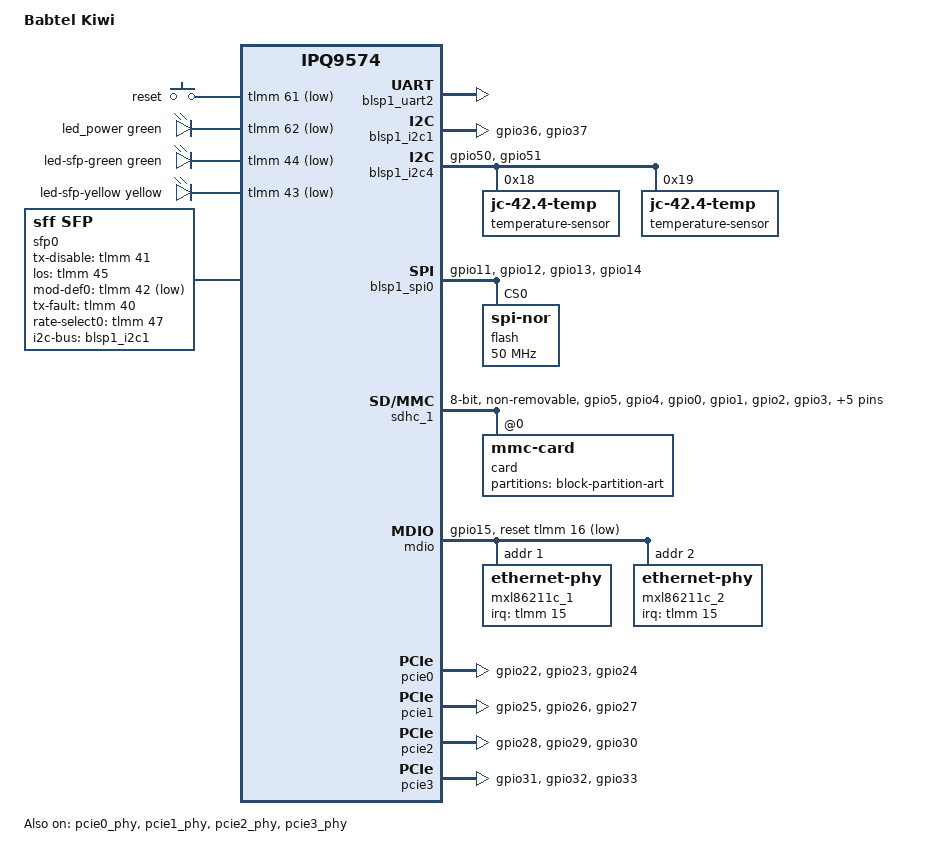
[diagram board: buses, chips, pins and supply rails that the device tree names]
// SPDX-License-Identifier: (GPL-2.0+ OR BSD-3-Clause)

/dts-v1/;

#include <dt-bindings/gpio/gpio.h>
#include <dt-bindings/input/input.h>
#include <dt-bindings/leds/common.h>
#include "ipq9574.dtsi"

/ {
	model = "Babtel Kiwi";
	compatible = "babtel,kiwi", "qcom,ipq9574";

	aliases {
		serial0 = &blsp1_uart2;
		led-boot = &led_power;
		led-failsafe = &led_power;
		led-running = &led_power;
		led-upgrade = &led_power;
	};

	chosen {
		stdout-path = "serial0:115200n8";
	};

	keys {
		compatible = "gpio-keys";
		pinctrl-0 = <&button_pins>;
		pinctrl-names = "default";

		reset-button {
			label = "reset";
			gpios = <&tlmm 61 GPIO_ACTIVE_LOW>;
			linux,code = <KEY_RESTART>;
		};
	};

	leds {
		compatible = "gpio-leds";

		led_power: led-power {
			color = <LED_COLOR_ID_GREEN>;
			function = LED_FUNCTION_POWER;
			gpios = <&tlmm 62 GPIO_ACTIVE_LOW>;
			default-state = "on";
		};

		led-sfp-green {
			color = <LED_COLOR_ID_GREEN>;
			function = LED_FUNCTION_LAN;
			function-enumerator = <0>;
			gpios = <&tlmm 44 GPIO_ACTIVE_LOW>;
			default-state = "off";
		};

		led-sfp-yellow {
			color = <LED_COLOR_ID_YELLOW>;
			function = LED_FUNCTION_LAN;
			function-enumerator = <0>;
			gpios = <&tlmm 43 GPIO_ACTIVE_LOW>;
			default-state = "off";
		};
	};

	sfp0: sfp-0 {
		compatible = "sff,sfp";
		i2c-bus = <&blsp1_i2c1>;
		tx-disable-gpios = <&tlmm 41 GPIO_ACTIVE_HIGH>;
		los-gpios = <&tlmm 45 GPIO_ACTIVE_HIGH>;
		mod-def0-gpios = <&tlmm 42 GPIO_ACTIVE_LOW>;
		tx-fault-gpios = <&tlmm 40 GPIO_ACTIVE_HIGH>;
		/* RS1 is internally tied to RS0 */
		rate-select0-gpios = <&tlmm 47 GPIO_ACTIVE_HIGH>;
	};
};

&sleep_clk {
	clock-frequency = <32000>;
};

/*
 * The bootstrap pins for the board select the XO clock frequency,
 * which automatically enables the right dividers to ensure the
 * reference clock output from WiFi is 48 MHZ.
 */
&ref_48mhz_clk {
	clock-div = <1>;
	clock-mult = <1>;
};

/*
 * The frequency of xo_board_clk is fixed to 24 MHZ, which is routed
 * from WiFi output clock 48 MHZ divided by 2.
 */
&xo_board_clk {
	clock-div = <2>;
	clock-mult = <1>;
};

&xo_clk {
	clock-frequency = <48000000>;
};

&tlmm {
	button_pins: button-default-state {
		pins = "gpio61";
		function = "gpio";
		drive-strength = <8>;
		bias-pull-up;
	};

	sdc_default_state: sdc-default-state {
		clk-pins {
			pins = "gpio5";
			function = "sdc_clk";
			drive-strength = <8>;
			bias-disable;
		};

		cmd-pins {
			pins = "gpio4";
			function = "sdc_cmd";
			drive-strength = <8>;
			bias-pull-up;
		};

		data-pins {
			pins = "gpio0", "gpio1", "gpio2",
			       "gpio3", "gpio6", "gpio7",
			       "gpio8", "gpio9";
			function = "sdc_data";
			drive-strength = <8>;
			bias-pull-up;
		};

		rclk-pins {
			pins = "gpio10";
			function = "sdc_rclk";
			drive-strength = <8>;
			bias-pull-down;
		};
	};

	spi_0_default: spi-0-default-state {
		pins = "gpio11", "gpio12", "gpio13", "gpio14";
		function = "blsp0_spi";
		drive-strength = <8>;
		bias-disable;
	};

	i2c1_default: i2c1-default-state {
		pins = "gpio36", "gpio37";
		function = "blsp1_i2c";
		drive-strength = <8>;
		bias-pull-up;
	};

	i2c4_default: i2c4-default-state {
		pins = "gpio50", "gpio51";
		function = "blsp4_i2c";
		drive-strength = <8>;
		bias-pull-up;
	};

	mdint_default: mdint-default-state {
		pins = "gpio15";
		function = "gpio";
		drive-strength = <8>;
		bias-pull-up;
	};

	pcie0_default: pcie0-default-state {
		clkreq-n-pins {
			pins = "gpio22";
			function = "pcie0_clk";
			drive-strength = <6>;
			bias-pull-up;
		};

		perst-n-pins {
			pins = "gpio23";
			function = "gpio";
			drive-strength = <8>;
			bias-pull-down;
			output-low;
		};

		wake-n-pins {
			pins = "gpio24";
			function = "pcie0_wake";
			drive-strength = <6>;
			bias-pull-up;
		};
	};

	pcie1_default: pcie1-default-state {
		clkreq-n-pins {
			pins = "gpio25";
			function = "pcie1_clk";
			drive-strength = <6>;
			bias-pull-up;
		};

		perst-n-pins {
			pins = "gpio26";
			function = "gpio";
			drive-strength = <8>;
			bias-pull-down;
			output-low;
		};

		wake-n-pins {
			pins = "gpio27";
			function = "pcie1_wake";
			drive-strength = <6>;
			bias-pull-up;
		};
	};

	pcie2_default: pcie2-default-state {
		clkreq-n-pins {
			pins = "gpio28";
			function = "pcie2_clk";
			drive-strength = <6>;
			bias-pull-up;
		};

		perst-n-pins {
			pins = "gpio29";
			function = "gpio";
			drive-strength = <8>;
			bias-pull-down;
			output-low;
		};

		wake-n-pins {
			pins = "gpio30";
			function = "pcie2_wake";
			drive-strength = <6>;
			bias-pull-up;
		};
	};

	pcie3_default: pcie3-default-state {
		clkreq-n-pins {
			pins = "gpio31";
			function = "pcie3_clk";
			drive-strength = <6>;
			bias-pull-up;
		};

		perst-n-pins {
			pins = "gpio32";
			function = "gpio";
			drive-strength = <8>;
			bias-pull-up;
			output-low;
		};

		wake-n-pins {
			pins = "gpio33";
			function = "pcie3_wake";
			drive-strength = <6>;
			bias-pull-up;
		};
	};
};

&blsp1_uart2 {
	pinctrl-0 = <&uart2_pins>;
	pinctrl-names = "default";
	status = "okay";
};

&blsp1_i2c1 {
	pinctrl-0 = <&i2c1_default>;
	pinctrl-names = "default";
	status = "okay";
};

&blsp1_i2c4 {
	pinctrl-0 = <&i2c4_default>;
	pinctrl-names = "default";
	status = "okay";

	temperature-sensor@18 {
		compatible = "jedec,jc-42.4-temp";
		reg = <0x18>;
	};

	temperature-sensor@19 {
		compatible = "jedec,jc-42.4-temp";
		reg = <0x19>;
	};
};

&blsp1_spi0 {
	pinctrl-0 = <&spi_0_default>;
	pinctrl-names = "default";
	status = "okay";

	flash@0 {
		compatible = "jedec,spi-nor";
		reg = <0>;
		spi-max-frequency = <50000000>;
	};
};

&sdhc_1 {
	pinctrl-0 = <&sdc_default_state>;
	pinctrl-names = "default";
	bus-width = <8>;
	max-frequency = <384000000>;
	mmc-ddr-1_8v;
	mmc-hs200-1_8v;
	mmc-hs400-1_8v;
	mmc-hs400-enhanced-strobe;
	non-removable;
	no-sdio;
	no-sd;
	#address-cells = <1>;
	#size-cells = <0>;
	status = "okay";

	card@0 {
		compatible = "mmc-card";
		reg = <0>;

		block {
			compatible = "block-device";

			partitions {
				block-partition-art {
					partname = "0:ART";

					nvmem: nvmem-layout {
						compatible = "fixed-layout";
						#address-cells = <1>;
						#size-cells = <1>;

						mac0: macaddr@0 {
							reg = <0x0 0x6>;
						};

						mac1: macaddr@6 {
							reg = <0x6 0x6>;
						};

						mac2: macaddr@c {
							reg = <0xc 0x6>;
						};
					};
				};
			};
		};
	};
};

&mdio {
	status = "okay";
	pinctrl-0 = <&mdio_pins>, <&mdint_default>;
	pinctrl-names = "default";
	reset-gpios = <&tlmm 16 GPIO_ACTIVE_LOW>;
	reset-assert-us = <10000>;
	reset-deassert-us = <500000>;

	mxl86211c_1: ethernet-phy@1 {
		reg = <1>;
		maxlinear,mdio-voltage-microvolt = <1800000>;
		maxlinear,lane-asp-map = <0x00e4>;
		interrupts = <15 IRQ_TYPE_LEVEL_LOW>;
		interrupt-parent = <&tlmm>;
	};

	mxl86211c_2: ethernet-phy@2 {
		reg = <2>;
		maxlinear,mdio-voltage-microvolt = <1800000>;
		maxlinear,lane-asp-map = <0x00e4>;
		interrupts = <15 IRQ_TYPE_LEVEL_LOW>;
		interrupt-parent = <&tlmm>;
	};
};

&rpm_requests {
	regulators {
		compatible = "qcom,rpm-mp5496-regulators";

		ipq9574_s1: s1 {
		/*
		 * During kernel bootup, the SoC runs at 800MHz with 875mV set by the bootloaders.
		 * During regulator registration, kernel not knowing the initial voltage,
		 * considers it as zero and brings up the regulators with minimum supported voltage.
		 * Update the regulator-min-microvolt with SVS voltage of 725mV so that
		 * the regulators are brought up with 725mV which is sufficient for all the
		 * corner parts to operate at 800MHz
		 */
			regulator-min-microvolt = <725000>;
			regulator-max-microvolt = <1075000>;
		};

		mp5496_l5: l5 {
			regulator-min-microvolt = <1800000>;
			regulator-max-microvolt = <1800000>;
			regulator-always-on;
			regulator-boot-on;
		};
	};
};

&qcom_ppe {
	ethernet-ports {
		#address-cells = <1>;
		#size-cells = <0>;

		xgmac1: port@1 {
			reg = <1>;
			phy-mode = "10gbase-r";
			managed = "in-band-status";
			label = "sfp";
			sfp = <&sfp0>;
			pcs-handle = <&pcs0_ch0>;
			clocks = <&nsscc NSS_CC_PORT1_MAC_CLK>,
				 <&nsscc NSS_CC_PORT1_RX_CLK>,
				 <&nsscc NSS_CC_PORT1_TX_CLK>;
			clock-names = "mac",
				      "rx",
				      "tx";
			resets = <&nsscc PORT1_MAC_ARES>,
				 <&nsscc PORT1_RX_ARES>,
				 <&nsscc PORT1_TX_ARES>;
			reset-names = "mac",
				      "rx",
				      "tx";
			nvmem-cells = <&mac0>;
			nvmem-cell-names = "mac-address";
		};

		xgmac5: port@5 {
			reg = <5>;
			phy-mode = "2500base-x";
			label = "lan1";
			phy-handle = <&mxl86211c_1>;
			pcs-handle = <&pcs1_ch0>;
			clocks = <&nsscc NSS_CC_PORT5_MAC_CLK>,
				 <&nsscc NSS_CC_PORT5_RX_CLK>,
				 <&nsscc NSS_CC_PORT5_TX_CLK>;
			clock-names = "mac",
				      "rx",
				      "tx";
			resets = <&nsscc PORT5_MAC_ARES>,
				 <&nsscc PORT5_RX_ARES>,
				 <&nsscc PORT5_TX_ARES>;
			reset-names = "mac",
				      "rx",
				      "tx";
		};

		xgmac6: port@6 {
			reg = <6>;
			phy-mode = "2500base-x";
			label = "lan2";
			phy-handle = <&mxl86211c_2>;
			pcs-handle = <&pcs2_ch0>;
			clocks = <&nsscc NSS_CC_PORT6_MAC_CLK>,
				 <&nsscc NSS_CC_PORT6_RX_CLK>,
				 <&nsscc NSS_CC_PORT6_TX_CLK>;
			clock-names = "mac",
				      "rx",
				      "tx";
			resets = <&nsscc PORT6_MAC_ARES>,
				 <&nsscc PORT6_RX_ARES>,
				 <&nsscc PORT6_TX_ARES>;
			reset-names = "mac",
				      "rx",
				      "tx";
		};
	};
};

&pcie0 {
	pinctrl-0 = <&pcie0_default>;
	pinctrl-names = "default";

	perst-gpios = <&tlmm 23 GPIO_ACTIVE_LOW>;
	wake-gpios = <&tlmm 24 GPIO_ACTIVE_LOW>;
	status = "okay";
};

&pcie0_phy {
	status = "okay";
};

&pcie1 {
	pinctrl-0 = <&pcie1_default>;
	pinctrl-names = "default";

	perst-gpios = <&tlmm 26 GPIO_ACTIVE_LOW>;
	wake-gpios = <&tlmm 27 GPIO_ACTIVE_LOW>;
	status = "okay";
};

&pcie1_phy {
	status = "okay";
};

&pcie2 {
	pinctrl-0 = <&pcie2_default>;
	pinctrl-names = "default";

	perst-gpios = <&tlmm 29 GPIO_ACTIVE_LOW>;
	wake-gpios = <&tlmm 30 GPIO_ACTIVE_LOW>;
	status = "okay";
};

&pcie2_phy {
	status = "okay";
};

&pcie3 {
	pinctrl-0 = <&pcie3_default>;
	pinctrl-names = "default";

	perst-gpios = <&tlmm 32 GPIO_ACTIVE_LOW>;
	wake-gpios = <&tlmm 33 GPIO_ACTIVE_LOW>;
	status = "okay";
};

&pcie3_phy {
	status = "okay";
};
